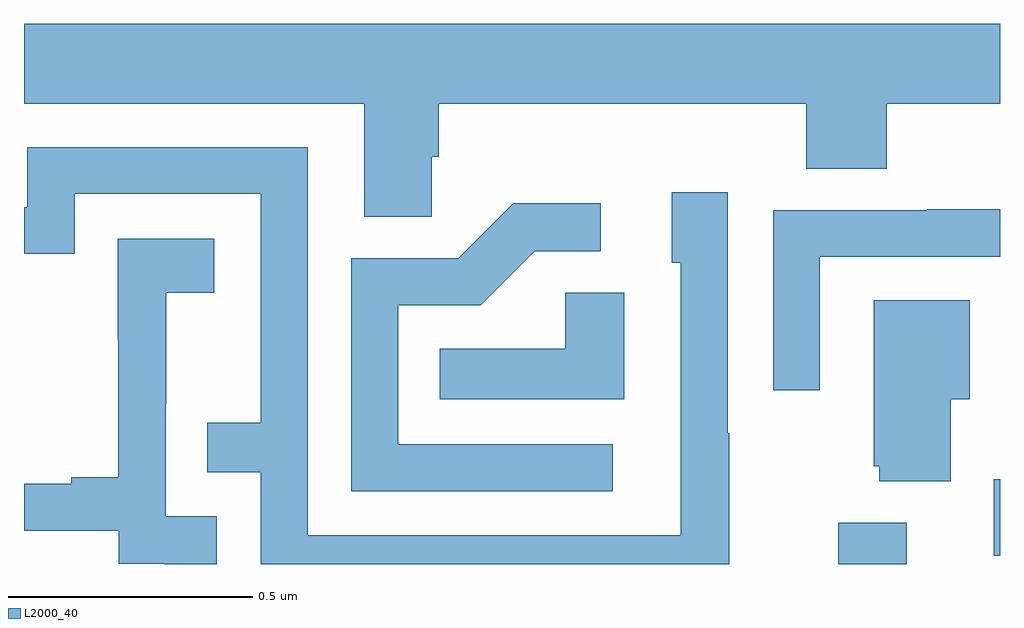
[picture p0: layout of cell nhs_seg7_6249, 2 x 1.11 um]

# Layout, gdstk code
import gdstk
lib = gdstk.Library(unit=1e-6, precision=1e-09)
def R(c, l, rs):  # rectangles x0, y0, x1, y1
    for r in rs: c.add(gdstk.rectangle(r[:2], r[2:], *l))
def P(c, l, *ps):  # polygons
    for p in ps: c.add(gdstk.Polygon(p, *l))
L2000_40 = (2000, 40)

nhs_seg7_6249 = lib.new_cell('nhs_seg7_6249')
R(nhs_seg7_6249, L2000_40, [(197.669,1005,197.809,1005.085), (197.987,1005.018,198,1005.174)])
P(nhs_seg7_6249, L2000_40, [(196.836,1005.835),(196.85,1005.835),(196.85,1005.944),(197.603,1005.944),(197.603,1005.811),(197.768,1005.811),(197.768,1005.944),(198,1005.944),(198,1006.108),(196,1006.108),(196,1005.944),(196.697,1005.944),(196.697,1005.712),(196.836,1005.712)],
  [(197.445,1005.269),(197.442,1005.269),(197.442,1005.763),(197.327,1005.763),(197.327,1005.618),(197.346,1005.618),(197.346,1005.06),(196.581,1005.06),(196.581,1005.855),(196.007,1005.855),(196.007,1005.732),(196,1005.732),(196,1005.636),(196.104,1005.636),(196.104,1005.759),(196.485,1005.759),(196.485,1005.29),(196.375,1005.29),(196.375,1005.189),(196.485,1005.189),(196.485,1005),(197.445,1005)],
  [(197.206,1005.246),(196.767,1005.246),(196.767,1005.531),(196.936,1005.531),(197.047,1005.642),(197.182,1005.642),(197.182,1005.74),(197.003,1005.74),(196.89,1005.627),(196.671,1005.627),(196.671,1005.15),(197.206,1005.15)],
  [(197.631,1005.63),(198,1005.63),(198,1005.728),(197.851,1005.728),(197.851,1005.726),(197.535,1005.726),(197.535,1005.357),(197.631,1005.357)],
  [(196.395,1005.099),(196.29,1005.099),(196.29,1005.329),(196.292,1005.329),(196.292,1005.557),(196.39,1005.557),(196.39,1005.667),(196.192,1005.667),(196.192,1005.461),(196.193,1005.461),(196.193,1005.178),(196.097,1005.178),(196.097,1005.165),(196,1005.165),(196,1005.069),(196.194,1005.069),(196.194,1005.001),(196.287,1005.001),(196.287,1005),(196.395,1005)],
  [(197.23,1005.557),(197.109,1005.557),(197.109,1005.442),(196.852,1005.442),(196.852,1005.338),(197.23,1005.338)],
  [(197.899,1005.338),(197.938,1005.338),(197.938,1005.541),(197.741,1005.541),(197.741,1005.201),(197.753,1005.201),(197.753,1005.17),(197.899,1005.17)])

lib.write_gds('nhs_seg7_6249.gds')
